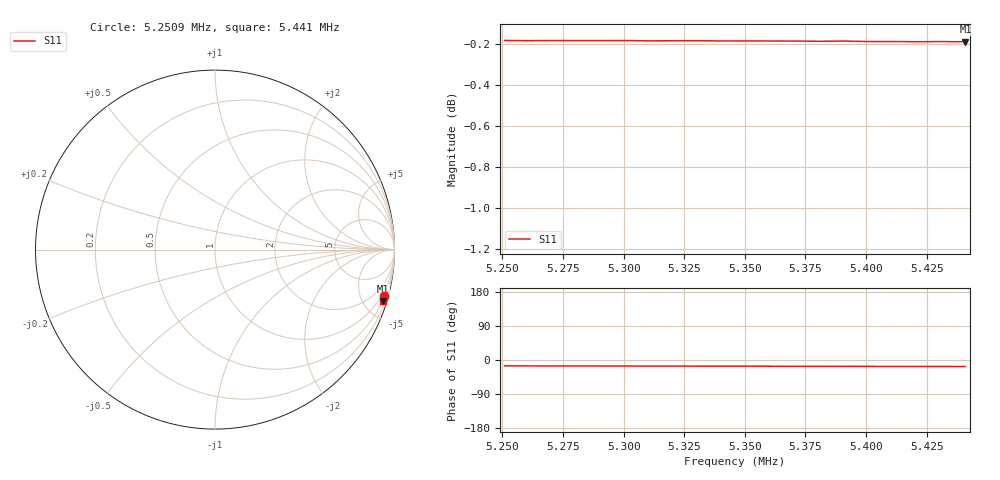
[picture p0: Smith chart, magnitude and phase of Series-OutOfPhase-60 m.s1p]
# HZ S RI R 50
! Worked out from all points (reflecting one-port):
!   20 points, 5.2509 MHz to 5.441 MHz, reference 50 ohm
!   lowest |S11| = -0.2 dB at 5.441 MHz (marker M1), VSWR 91.21, Z = 24.5 - j330 ohm
!   phase of S11 starts at -15 deg and turns -2 deg over the sweep
5250900  0.9437 -0.2605
5260904  0.9432 -0.262
5270908  0.9429 -0.2636
5280912  0.9424 -0.265
5290916  0.942 -0.2665
5300920  0.9416 -0.2679
5310924  0.941 -0.2694
5320928  0.9406 -0.2709
5330932  0.9402 -0.2725
5340936  0.9396 -0.2739
5350940  0.9392 -0.2754
5360944  0.9388 -0.2769
5370948  0.9383 -0.2783
5380952  0.9377 -0.2799
5390956  0.9374 -0.2814
5400960  0.9367 -0.2828
5410964  0.9362 -0.2843
5420968  0.9357 -0.2858
5430972  0.9353 -0.2873
5440976  0.9348 -0.2887
